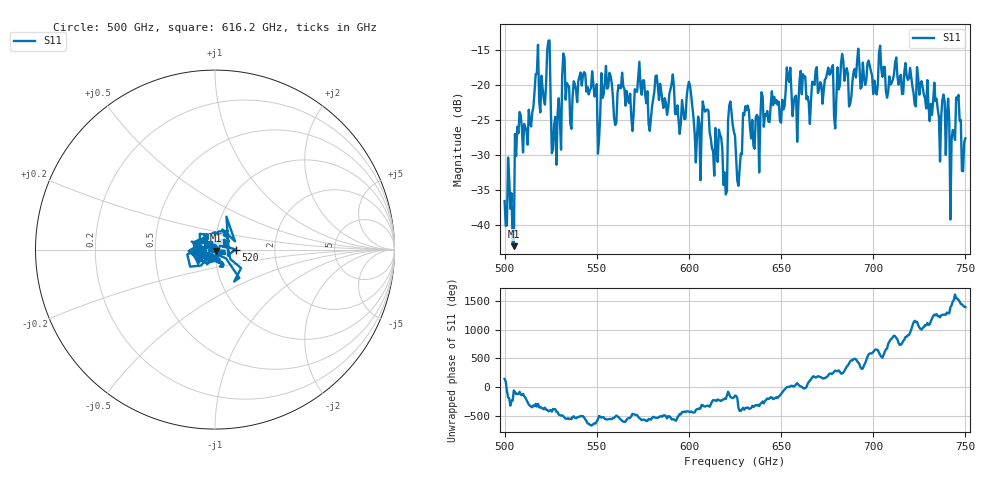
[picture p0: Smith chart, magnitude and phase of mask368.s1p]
!Created with skrf (http://scikit-rf.org).
# GHz S MA R 50.0
!freq magS11 angS11
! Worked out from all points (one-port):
!   401 points, 500 GHz to 750 GHz, reference 50 ohm
!   lowest |S11| = -43.0 dB at 505 GHz (marker M1), VSWR 1.01, Z = 50.4 - j0.596 ohm
!   |S11| at or under -10 dB: start of sweep to end of sweep
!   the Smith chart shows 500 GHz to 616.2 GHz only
!   S11 on the Smith chart (normalised r, x): 500 GHz: 0.98, +0.02; 520 GHz: 1.26, -0.00; 616.2 GHz: 0.93, +0.06
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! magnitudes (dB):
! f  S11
! 500 GHz  -36.6
! 505 GHz  -43.0
! 508.1 GHz  -23.9
! 520 GHz  -18.7
! 523.8 GHz  -13.7
! 526.9 GHz  -25.6
! 531.2 GHz  -18.6
! 542.5 GHz  -18.6
! 550.6 GHz  -29.8
! 562.5 GHz  -20.4
! 579.4 GHz  -24.8
! 590.6 GHz  -19.8
! 593.8 GHz  -22.9
! 600 GHz  -19.5
! 605 GHz  -24.5
! 608.8 GHz  -23.8
! 616.2 GHz  -26.4
! 619.4 GHz  -32.5
! 622.5 GHz  -22.4
! 625 GHz  -27.2
! 630.6 GHz  -23.0
! 656.2 GHz  -24.4
! 687.5 GHz  -22.7
! 718.8 GHz  -19.3
! 739.4 GHz  -30.0
! 743.1 GHz  -26.4
! 746.2 GHz  -21.4
! 750 GHz  -27.6
